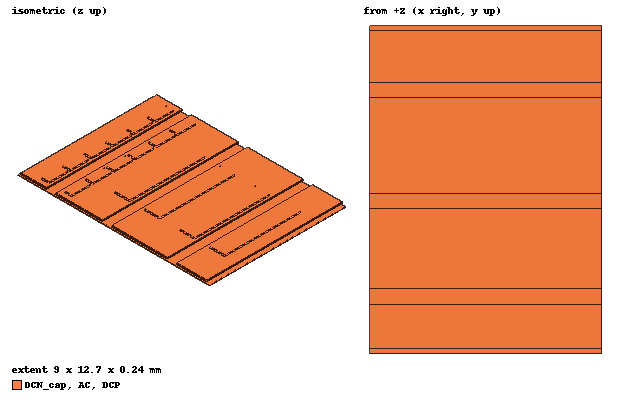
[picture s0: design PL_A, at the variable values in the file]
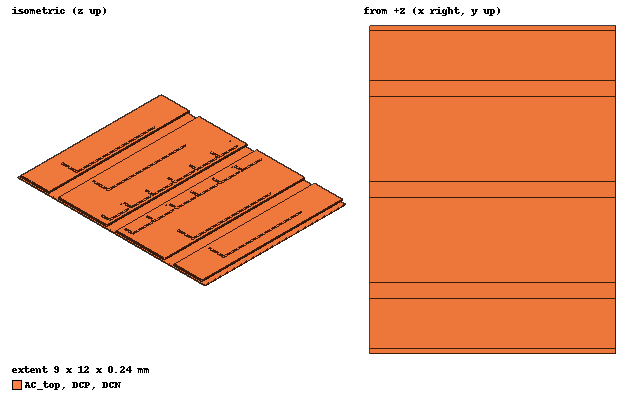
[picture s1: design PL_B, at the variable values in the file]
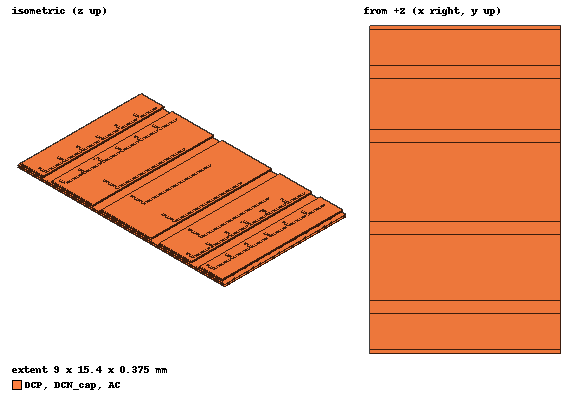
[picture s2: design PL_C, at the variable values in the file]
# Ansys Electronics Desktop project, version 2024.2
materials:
  vacuum: permittivity=1
  copper: permeability=0.999991 conductivity=58000000

design PL_A (Q3D Extractor, model units mm)
options: SParamCalcMethod=EqTransLine Calculate_Lossy_Dielectrics
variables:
  h_diel = 0.1mm  # L1-L2 dielectric
  t_L1 = 0.07mm  # L1 copper
  t_L2 = 0.035mm  # L2 copper
  t_pad = 0.035mm  # pad height; terminal faces on top
  gap = 0.6mm  # lateral gap between L1 islands (component pad gap)
  w_cell = 9mm  # island and plane width
  fet_w = 5mm  # EPC2361 pad width
  fet_pad = 1mm  # EPC2361 pad length along the loop
  cap_p = 1.4mm  # MLCC pitch
  cap_w = 1.25mm  # MLCC pad width
  via_r = 0.15mm  # via radius
  l_vrow = 0.8mm  # DC- cap landing: via strip
  l_capn = 0.9mm  # DC- cap pad strip
  l_dcp = 3.1mm  # DC+ island (caps + to QH drain)
  l_ac = 3.7mm  # AC island (QH source to QL drain)
  l_src = 2mm  # QL source island (DC-), via row 0.4 mm before its end
  z_L1 = t_L2+h_diel
  z_top = z_L1+t_L1
  y_dcp0 = l_capn+gap
  y_dcp1 = y_dcp0+l_dcp
  y_ac0 = y_dcp1+gap
  y_ac1 = y_ac0+l_ac
  y_s0 = y_ac1+gap
  y_s1 = y_s0+l_src
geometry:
  DCN_cap [copper] = box(corner=(-w_cell/2, -l_vrow, z_L1), size=((w_cell/2)-(-w_cell/2), (l_capn)-(-l_vrow), (z_top)-(z_L1)))
  via1 = cylinder(axis=Z, base_centre=((-4)*w_cell/10, -l_vrow/2, 0mm), radius=via_r, height=z_top)
  via2 = cylinder(axis=Z, base_centre=((-3)*w_cell/10, -l_vrow/2, 0mm), radius=via_r, height=z_top)
  via3 = cylinder(axis=Z, base_centre=((-2)*w_cell/10, -l_vrow/2, 0mm), radius=via_r, height=z_top)
  via4 = cylinder(axis=Z, base_centre=((-1)*w_cell/10, -l_vrow/2, 0mm), radius=via_r, height=z_top)
  via5 = cylinder(axis=Z, base_centre=((0)*w_cell/10, -l_vrow/2, 0mm), radius=via_r, height=z_top)
  via6 = cylinder(axis=Z, base_centre=((1)*w_cell/10, -l_vrow/2, 0mm), radius=via_r, height=z_top)
  via7 = cylinder(axis=Z, base_centre=((2)*w_cell/10, -l_vrow/2, 0mm), radius=via_r, height=z_top)
  via8 = cylinder(axis=Z, base_centre=((3)*w_cell/10, -l_vrow/2, 0mm), radius=via_r, height=z_top)
  via9 = cylinder(axis=Z, base_centre=((4)*w_cell/10, -l_vrow/2, 0mm), radius=via_r, height=z_top)
  CapN1 = box(corner=((-2.5)*cap_p-cap_w/2, 0.2mm, z_top), size=(((-2.5)*cap_p+cap_w/2)-((-2.5)*cap_p-cap_w/2), (0.7mm)-(0.2mm), (z_top+t_pad)-(z_top)))
  CapN2 = box(corner=((-1.5)*cap_p-cap_w/2, 0.2mm, z_top), size=(((-1.5)*cap_p+cap_w/2)-((-1.5)*cap_p-cap_w/2), (0.7mm)-(0.2mm), (z_top+t_pad)-(z_top)))
  CapN3 = box(corner=((-0.5)*cap_p-cap_w/2, 0.2mm, z_top), size=(((-0.5)*cap_p+cap_w/2)-((-0.5)*cap_p-cap_w/2), (0.7mm)-(0.2mm), (z_top+t_pad)-(z_top)))
  CapN4 = box(corner=((0.5)*cap_p-cap_w/2, 0.2mm, z_top), size=(((0.5)*cap_p+cap_w/2)-((0.5)*cap_p-cap_w/2), (0.7mm)-(0.2mm), (z_top+t_pad)-(z_top)))
  CapN5 = box(corner=((1.5)*cap_p-cap_w/2, 0.2mm, z_top), size=(((1.5)*cap_p+cap_w/2)-((1.5)*cap_p-cap_w/2), (0.7mm)-(0.2mm), (z_top+t_pad)-(z_top)))
  CapN6 = box(corner=((2.5)*cap_p-cap_w/2, 0.2mm, z_top), size=(((2.5)*cap_p+cap_w/2)-((2.5)*cap_p-cap_w/2), (0.7mm)-(0.2mm), (z_top+t_pad)-(z_top)))
  DCP [copper] = box(corner=(-w_cell/2, y_dcp0, z_L1), size=((w_cell/2)-(-w_cell/2), (y_dcp1)-(y_dcp0), (z_top)-(z_L1)))
  CapP1 = box(corner=((-2.5)*cap_p-cap_w/2, y_dcp0+0.2mm, z_top), size=(((-2.5)*cap_p+cap_w/2)-((-2.5)*cap_p-cap_w/2), (y_dcp0+0.7mm)-(y_dcp0+0.2mm), (z_top+t_pad)-(z_top)))
  CapP2 = box(corner=((-1.5)*cap_p-cap_w/2, y_dcp0+0.2mm, z_top), size=(((-1.5)*cap_p+cap_w/2)-((-1.5)*cap_p-cap_w/2), (y_dcp0+0.7mm)-(y_dcp0+0.2mm), (z_top+t_pad)-(z_top)))
  CapP3 = box(corner=((-0.5)*cap_p-cap_w/2, y_dcp0+0.2mm, z_top), size=(((-0.5)*cap_p+cap_w/2)-((-0.5)*cap_p-cap_w/2), (y_dcp0+0.7mm)-(y_dcp0+0.2mm), (z_top+t_pad)-(z_top)))
  CapP4 = box(corner=((0.5)*cap_p-cap_w/2, y_dcp0+0.2mm, z_top), size=(((0.5)*cap_p+cap_w/2)-((0.5)*cap_p-cap_w/2), (y_dcp0+0.7mm)-(y_dcp0+0.2mm), (z_top+t_pad)-(z_top)))
  CapP5 = box(corner=((1.5)*cap_p-cap_w/2, y_dcp0+0.2mm, z_top), size=(((1.5)*cap_p+cap_w/2)-((1.5)*cap_p-cap_w/2), (y_dcp0+0.7mm)-(y_dcp0+0.2mm), (z_top+t_pad)-(z_top)))
  CapP6 = box(corner=((2.5)*cap_p-cap_w/2, y_dcp0+0.2mm, z_top), size=(((2.5)*cap_p+cap_w/2)-((2.5)*cap_p-cap_w/2), (y_dcp0+0.7mm)-(y_dcp0+0.2mm), (z_top+t_pad)-(z_top)))
  QH_D = box(corner=(-fet_w/2, y_dcp1-0.2mm-fet_pad, z_top), size=((fet_w/2)-(-fet_w/2), (y_dcp1-0.2mm-fet_pad+fet_pad)-(y_dcp1-0.2mm-fet_pad), (z_top+t_pad)-(z_top)))
  AC [copper] = box(corner=(-w_cell/2, y_ac0, z_L1), size=((w_cell/2)-(-w_cell/2), (y_ac1)-(y_ac0), (z_top)-(z_L1)))
  QH_S = box(corner=(-fet_w/2, y_ac0+0.2mm, z_top), size=((fet_w/2)-(-fet_w/2), (y_ac0+0.2mm+fet_pad)-(y_ac0+0.2mm), (z_top+t_pad)-(z_top)))
  QL_D = box(corner=(-fet_w/2, y_ac1-0.2mm-fet_pad, z_top), size=((fet_w/2)-(-fet_w/2), (y_ac1-0.2mm-fet_pad+fet_pad)-(y_ac1-0.2mm-fet_pad), (z_top+t_pad)-(z_top)))
  DCN_src = box(corner=(-w_cell/2, y_s0, z_L1), size=((w_cell/2)-(-w_cell/2), (y_s1)-(y_s0), (z_top)-(z_L1)))
  QL_S = box(corner=(-fet_w/2, y_s0+0.2mm, z_top), size=((fet_w/2)-(-fet_w/2), (y_s0+0.2mm+fet_pad)-(y_s0+0.2mm), (z_top+t_pad)-(z_top)))
  via10 = cylinder(axis=Z, base_centre=((-4)*w_cell/10, y_s1-0.4mm, 0mm), radius=via_r, height=z_top)
  via11 = cylinder(axis=Z, base_centre=((-3)*w_cell/10, y_s1-0.4mm, 0mm), radius=via_r, height=z_top)
  via12 = cylinder(axis=Z, base_centre=((-2)*w_cell/10, y_s1-0.4mm, 0mm), radius=via_r, height=z_top)
  via13 = cylinder(axis=Z, base_centre=((-1)*w_cell/10, y_s1-0.4mm, 0mm), radius=via_r, height=z_top)
  via14 = cylinder(axis=Z, base_centre=((0)*w_cell/10, y_s1-0.4mm, 0mm), radius=via_r, height=z_top)
  via15 = cylinder(axis=Z, base_centre=((1)*w_cell/10, y_s1-0.4mm, 0mm), radius=via_r, height=z_top)
  via16 = cylinder(axis=Z, base_centre=((2)*w_cell/10, y_s1-0.4mm, 0mm), radius=via_r, height=z_top)
  via17 = cylinder(axis=Z, base_centre=((3)*w_cell/10, y_s1-0.4mm, 0mm), radius=via_r, height=z_top)
  via18 = cylinder(axis=Z, base_centre=((4)*w_cell/10, y_s1-0.4mm, 0mm), radius=via_r, height=z_top)
  L2_DCN = box(corner=(-w_cell/2, -l_vrow-0.2mm, 0mm), size=((w_cell/2)-(-w_cell/2), (y_s1+0.2mm)-(-l_vrow-0.2mm), (t_L2)-(0mm)))
  DCP.unite(CapP1..CapP6, QH_D)
  AC.unite(QH_S, QL_D)
  DCN_cap.unite(via1..via9, CapN1..CapN6, DCN_src, QL_S, via10..via18, L2_DCN)
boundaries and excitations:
  DCP: SignalNet Objects=DCP
  AC: SignalNet Objects=AC
  DCN: SignalNet Objects=DCN_cap
  CapP: Source Faces=DCP.face(at (-3.5, 1.95, 0.24), at (-2.1, 1.95, 0.24), at (-0.7, 1.95, 0.24), at (0.7, 1.95, 0.24), at (2.1, 1.95, 0.24), at (3.5, 1.95, 0.24)) TerminalType=ConstantVoltage Net=DCP
  QH_D: Sink Faces=DCP.face(at (0, 3.9, 0.24)) TerminalType=ConstantVoltage Net=DCP
  QH_S: Source Faces=AC.face(at (0, 5.9, 0.24)) TerminalType=ConstantVoltage Net=AC
  QL_D: Sink Faces=AC.face(at (0, 8.2, 0.24)) TerminalType=ConstantVoltage Net=AC
  QL_S: Source Faces=DCN_cap.face(at (0, 10.2, 0.24)) TerminalType=ConstantVoltage Net=DCN
  CapN: Sink Faces=DCN_cap.face(at (-3.5, 0.45, 0.24), at (-2.1, 0.45, 0.24), at (-0.7, 0.45, 0.24), at (0.7, 0.45, 0.24), at (2.1, 0.45, 0.24), at (3.5, 0.45, 0.24)) TerminalType=ConstantVoltage Net=DCN
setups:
  Setup1: Matrix AdaptiveFreq=200kHz Cap{MaxPass=10 MinPass=1 MinConvPass=1 PerError=1 PerRefine=30 AutoIncreaseAccuracy AccuracyLevel=High Solver_Type=Iterative} DC{Cond{MaxPass=10 MinPass=1 MinConvPass=1 PerError=1 PerRefine=30} Mult{MaxPass=1 MinPass=1 MinConvPass=1 PerError=1 PerRefine=30} AccuracyLevel=Normal} AC{MaxPass=15 MinPass=2 MinConvPass=2 PerError=0.5 PerRefine=30 ACRLSolverType=ACA} ErrorValue=0.1
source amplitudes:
  AC:QH_S, DCN:QL_S: AC R/L Fields 0A
  DCP:CapP: AC R/L Fields 1A
  AC, DCN: CG Fields 0V 0deg
  DCP: CG Fields 1V 0deg
  AC:QH_S, DCN:QL_S: DC R/L Fields 0A
  DCP:CapP: DC R/L Fields 1A

design PL_B (Q3D Extractor, model units mm)
options: SParamCalcMethod=EqTransLine Calculate_Lossy_Dielectrics
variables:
  h_diel = 0.1mm  # L1-L2 dielectric
  t_L1 = 0.07mm  # L1 copper
  t_L2 = 0.035mm  # L2 copper
  t_pad = 0.035mm  # pad height; terminal faces on top
  gap = 0.6mm  # lateral gap between L1 islands (component pad gap)
  w_cell = 9mm  # island and plane width
  fet_w = 5mm  # EPC2361 pad width
  fet_pad = 1mm  # EPC2361 pad length along the loop
  cap_p = 1.4mm  # MLCC pitch
  cap_w = 1.25mm  # MLCC pad width
  via_r = 0.15mm  # via radius
  l_ach = 1.8mm  # AC landing at QH source and at QL drain (via row to L2)
  l_dcp = 3.1mm  # DC+ island (QH drain to caps +)
  l_dcn = 3.1mm  # DC- island (caps - to QL source)
  z_L1 = t_L2+h_diel
  z_top = z_L1+t_L1
  y_p0 = l_ach+gap
  y_p1 = y_p0+l_dcp
  y_n0 = y_p1+gap
  y_n1 = y_n0+l_dcn
  y_q0 = y_n1+gap
  y_q1 = y_q0+l_ach
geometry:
  AC_top [copper] = box(corner=(-w_cell/2, 0mm, z_L1), size=((w_cell/2)-(-w_cell/2), (l_ach)-(0mm), (z_top)-(z_L1)))
  via1 = cylinder(axis=Z, base_centre=((-4)*w_cell/10, 0.3mm, 0mm), radius=via_r, height=z_top)
  via2 = cylinder(axis=Z, base_centre=((-3)*w_cell/10, 0.3mm, 0mm), radius=via_r, height=z_top)
  via3 = cylinder(axis=Z, base_centre=((-2)*w_cell/10, 0.3mm, 0mm), radius=via_r, height=z_top)
  via4 = cylinder(axis=Z, base_centre=((-1)*w_cell/10, 0.3mm, 0mm), radius=via_r, height=z_top)
  via5 = cylinder(axis=Z, base_centre=((0)*w_cell/10, 0.3mm, 0mm), radius=via_r, height=z_top)
  via6 = cylinder(axis=Z, base_centre=((1)*w_cell/10, 0.3mm, 0mm), radius=via_r, height=z_top)
  via7 = cylinder(axis=Z, base_centre=((2)*w_cell/10, 0.3mm, 0mm), radius=via_r, height=z_top)
  via8 = cylinder(axis=Z, base_centre=((3)*w_cell/10, 0.3mm, 0mm), radius=via_r, height=z_top)
  via9 = cylinder(axis=Z, base_centre=((4)*w_cell/10, 0.3mm, 0mm), radius=via_r, height=z_top)
  QH_S = box(corner=(-fet_w/2, l_ach-0.2mm-fet_pad, z_top), size=((fet_w/2)-(-fet_w/2), (l_ach-0.2mm-fet_pad+fet_pad)-(l_ach-0.2mm-fet_pad), (z_top+t_pad)-(z_top)))
  DCP [copper] = box(corner=(-w_cell/2, y_p0, z_L1), size=((w_cell/2)-(-w_cell/2), (y_p1)-(y_p0), (z_top)-(z_L1)))
  QH_D = box(corner=(-fet_w/2, y_p0+0.2mm, z_top), size=((fet_w/2)-(-fet_w/2), (y_p0+0.2mm+fet_pad)-(y_p0+0.2mm), (z_top+t_pad)-(z_top)))
  CapP1 = box(corner=((-2.5)*cap_p-cap_w/2, y_p1-0.7mm, z_top), size=(((-2.5)*cap_p+cap_w/2)-((-2.5)*cap_p-cap_w/2), (y_p1-0.2mm)-(y_p1-0.7mm), (z_top+t_pad)-(z_top)))
  CapP2 = box(corner=((-1.5)*cap_p-cap_w/2, y_p1-0.7mm, z_top), size=(((-1.5)*cap_p+cap_w/2)-((-1.5)*cap_p-cap_w/2), (y_p1-0.2mm)-(y_p1-0.7mm), (z_top+t_pad)-(z_top)))
  CapP3 = box(corner=((-0.5)*cap_p-cap_w/2, y_p1-0.7mm, z_top), size=(((-0.5)*cap_p+cap_w/2)-((-0.5)*cap_p-cap_w/2), (y_p1-0.2mm)-(y_p1-0.7mm), (z_top+t_pad)-(z_top)))
  CapP4 = box(corner=((0.5)*cap_p-cap_w/2, y_p1-0.7mm, z_top), size=(((0.5)*cap_p+cap_w/2)-((0.5)*cap_p-cap_w/2), (y_p1-0.2mm)-(y_p1-0.7mm), (z_top+t_pad)-(z_top)))
  CapP5 = box(corner=((1.5)*cap_p-cap_w/2, y_p1-0.7mm, z_top), size=(((1.5)*cap_p+cap_w/2)-((1.5)*cap_p-cap_w/2), (y_p1-0.2mm)-(y_p1-0.7mm), (z_top+t_pad)-(z_top)))
  CapP6 = box(corner=((2.5)*cap_p-cap_w/2, y_p1-0.7mm, z_top), size=(((2.5)*cap_p+cap_w/2)-((2.5)*cap_p-cap_w/2), (y_p1-0.2mm)-(y_p1-0.7mm), (z_top+t_pad)-(z_top)))
  DCN [copper] = box(corner=(-w_cell/2, y_n0, z_L1), size=((w_cell/2)-(-w_cell/2), (y_n1)-(y_n0), (z_top)-(z_L1)))
  CapN1 = box(corner=((-2.5)*cap_p-cap_w/2, y_n0+0.2mm, z_top), size=(((-2.5)*cap_p+cap_w/2)-((-2.5)*cap_p-cap_w/2), (y_n0+0.7mm)-(y_n0+0.2mm), (z_top+t_pad)-(z_top)))
  CapN2 = box(corner=((-1.5)*cap_p-cap_w/2, y_n0+0.2mm, z_top), size=(((-1.5)*cap_p+cap_w/2)-((-1.5)*cap_p-cap_w/2), (y_n0+0.7mm)-(y_n0+0.2mm), (z_top+t_pad)-(z_top)))
  CapN3 = box(corner=((-0.5)*cap_p-cap_w/2, y_n0+0.2mm, z_top), size=(((-0.5)*cap_p+cap_w/2)-((-0.5)*cap_p-cap_w/2), (y_n0+0.7mm)-(y_n0+0.2mm), (z_top+t_pad)-(z_top)))
  CapN4 = box(corner=((0.5)*cap_p-cap_w/2, y_n0+0.2mm, z_top), size=(((0.5)*cap_p+cap_w/2)-((0.5)*cap_p-cap_w/2), (y_n0+0.7mm)-(y_n0+0.2mm), (z_top+t_pad)-(z_top)))
  CapN5 = box(corner=((1.5)*cap_p-cap_w/2, y_n0+0.2mm, z_top), size=(((1.5)*cap_p+cap_w/2)-((1.5)*cap_p-cap_w/2), (y_n0+0.7mm)-(y_n0+0.2mm), (z_top+t_pad)-(z_top)))
  CapN6 = box(corner=((2.5)*cap_p-cap_w/2, y_n0+0.2mm, z_top), size=(((2.5)*cap_p+cap_w/2)-((2.5)*cap_p-cap_w/2), (y_n0+0.7mm)-(y_n0+0.2mm), (z_top+t_pad)-(z_top)))
  QL_S = box(corner=(-fet_w/2, y_n1-0.2mm-fet_pad, z_top), size=((fet_w/2)-(-fet_w/2), (y_n1-0.2mm-fet_pad+fet_pad)-(y_n1-0.2mm-fet_pad), (z_top+t_pad)-(z_top)))
  AC_bot = box(corner=(-w_cell/2, y_q0, z_L1), size=((w_cell/2)-(-w_cell/2), (y_q1)-(y_q0), (z_top)-(z_L1)))
  QL_D = box(corner=(-fet_w/2, y_q0+0.2mm, z_top), size=((fet_w/2)-(-fet_w/2), (y_q0+0.2mm+fet_pad)-(y_q0+0.2mm), (z_top+t_pad)-(z_top)))
  via10 = cylinder(axis=Z, base_centre=((-4)*w_cell/10, y_q1-0.3mm, 0mm), radius=via_r, height=z_top)
  via11 = cylinder(axis=Z, base_centre=((-3)*w_cell/10, y_q1-0.3mm, 0mm), radius=via_r, height=z_top)
  via12 = cylinder(axis=Z, base_centre=((-2)*w_cell/10, y_q1-0.3mm, 0mm), radius=via_r, height=z_top)
  via13 = cylinder(axis=Z, base_centre=((-1)*w_cell/10, y_q1-0.3mm, 0mm), radius=via_r, height=z_top)
  via14 = cylinder(axis=Z, base_centre=((0)*w_cell/10, y_q1-0.3mm, 0mm), radius=via_r, height=z_top)
  via15 = cylinder(axis=Z, base_centre=((1)*w_cell/10, y_q1-0.3mm, 0mm), radius=via_r, height=z_top)
  via16 = cylinder(axis=Z, base_centre=((2)*w_cell/10, y_q1-0.3mm, 0mm), radius=via_r, height=z_top)
  via17 = cylinder(axis=Z, base_centre=((3)*w_cell/10, y_q1-0.3mm, 0mm), radius=via_r, height=z_top)
  via18 = cylinder(axis=Z, base_centre=((4)*w_cell/10, y_q1-0.3mm, 0mm), radius=via_r, height=z_top)
  L2_AC = box(corner=(-w_cell/2, -0.2mm, 0mm), size=((w_cell/2)-(-w_cell/2), (y_q1+0.2mm)-(-0.2mm), (t_L2)-(0mm)))
  DCP.unite(QH_D, CapP1..CapP6)
  AC_top.unite(via1..via9, QH_S, AC_bot, QL_D, via10..via18, L2_AC)
  DCN.unite(CapN1..CapN6, QL_S)
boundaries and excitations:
  DCP: SignalNet Objects=DCP
  AC: SignalNet Objects=AC_top
  DCN: SignalNet Objects=DCN
  CapP: Source Faces=DCP.face(at (-3.5, 5.05, 0.24), at (-2.1, 5.05, 0.24), at (-0.7, 5.05, 0.24), at (0.7, 5.05, 0.24), at (2.1, 5.05, 0.24), at (3.5, 5.05, 0.24)) TerminalType=ConstantVoltage Net=DCP
  QH_D: Sink Faces=DCP.face(at (0, 3.1, 0.24)) TerminalType=ConstantVoltage Net=DCP
  QH_S: Source Faces=AC_top.face(at (0, 1.1, 0.24)) TerminalType=ConstantVoltage Net=AC
  QL_D: Sink Faces=AC_top.face(at (0, 10.5, 0.24)) TerminalType=ConstantVoltage Net=AC
  QL_S: Source Faces=DCN.face(at (0, 8.5, 0.24)) TerminalType=ConstantVoltage Net=DCN
  CapN: Sink Faces=DCN.face(at (-3.5, 6.55, 0.24), at (-2.1, 6.55, 0.24), at (-0.7, 6.55, 0.24), at (0.7, 6.55, 0.24), at (2.1, 6.55, 0.24), at (3.5, 6.55, 0.24)) TerminalType=ConstantVoltage Net=DCN
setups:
  Setup1: Matrix AdaptiveFreq=100MHz Cap{MaxPass=10 MinPass=1 MinConvPass=1 PerError=1 PerRefine=30 AutoIncreaseAccuracy AccuracyLevel=High Solver_Type=Iterative} DC{Cond{MaxPass=10 MinPass=1 MinConvPass=1 PerError=1 PerRefine=30} Mult{MaxPass=1 MinPass=1 MinConvPass=1 PerError=1 PerRefine=30} AccuracyLevel=Normal} AC{MaxPass=15 MinPass=2 MinConvPass=2 PerError=0.5 PerRefine=30 ACRLSolverType=ACA} ErrorValue=0.1
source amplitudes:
  AC:QH_S, DCN:QL_S: AC R/L Fields 0A
  DCP:CapP: AC R/L Fields 1A
  AC, DCN: CG Fields 0V 0deg
  DCP: CG Fields 1V 0deg
  AC:QH_S, DCN:QL_S: DC R/L Fields 0A
  DCP:CapP: DC R/L Fields 1A

design PL_C (Q3D Extractor, model units mm)
options: SParamCalcMethod=EqTransLine Calculate_Lossy_Dielectrics
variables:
  h_diel = 0.1mm  # L1-L2 dielectric
  t_L1 = 0.07mm  # L1 copper
  t_L2 = 0.035mm  # L2 copper
  t_pad = 0.035mm  # pad height; terminal faces on top
  gap = 0.6mm  # lateral gap between L1 islands (component pad gap)
  w_cell = 9mm  # island and plane width
  fet_w = 5mm  # EPC2361 pad width
  fet_pad = 1mm  # EPC2361 pad length along the loop
  cap_p = 1.4mm  # MLCC pitch
  cap_w = 1.25mm  # MLCC pad width
  via_r = 0.15mm  # via radius
  l_vrow = 0.8mm  # DC- cap landing: via strip
  l_capn = 0.9mm  # DC- cap pad strip
  l_dcp = 3.1mm  # DC+ island (caps + to QH drain)
  l_ac = 3.7mm  # AC island (QH source to QL drain)
  l_src = 2.4mm  # QL source island (DC-): QL_S pads, via row, caps B - pads
  l_capbp = 1.7mm  # caps B + island (DC+), via row to L3
  h_23 = 0.1mm  # L2-L3 dielectric (DC- plane to DC+ plane)
  t_L3 = 0.035mm  # L3 copper
  r_anti = 0.35mm  # L2 clearance radius around DC+ vias
  z_L1 = t_L2+h_diel
  z_top = z_L1+t_L1
  y_dcp0 = l_capn+gap
  y_dcp1 = y_dcp0+l_dcp
  y_ac0 = y_dcp1+gap
  y_ac1 = y_ac0+l_ac
  y_s0 = y_ac1+gap
  y_s1 = y_s0+l_src
  y_b0 = y_s1+gap
  y_b1 = y_b0+l_capbp
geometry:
  DCN_cap [copper] = box(corner=(-w_cell/2, -l_vrow, z_L1), size=((w_cell/2)-(-w_cell/2), (l_capn)-(-l_vrow), (z_top)-(z_L1)))
  via1 = cylinder(axis=Z, base_centre=((-4)*w_cell/10, -l_vrow/2, 0mm), radius=via_r, height=z_top)
  via2 = cylinder(axis=Z, base_centre=((-3)*w_cell/10, -l_vrow/2, 0mm), radius=via_r, height=z_top)
  via3 = cylinder(axis=Z, base_centre=((-2)*w_cell/10, -l_vrow/2, 0mm), radius=via_r, height=z_top)
  via4 = cylinder(axis=Z, base_centre=((-1)*w_cell/10, -l_vrow/2, 0mm), radius=via_r, height=z_top)
  via5 = cylinder(axis=Z, base_centre=((0)*w_cell/10, -l_vrow/2, 0mm), radius=via_r, height=z_top)
  via6 = cylinder(axis=Z, base_centre=((1)*w_cell/10, -l_vrow/2, 0mm), radius=via_r, height=z_top)
  via7 = cylinder(axis=Z, base_centre=((2)*w_cell/10, -l_vrow/2, 0mm), radius=via_r, height=z_top)
  via8 = cylinder(axis=Z, base_centre=((3)*w_cell/10, -l_vrow/2, 0mm), radius=via_r, height=z_top)
  via9 = cylinder(axis=Z, base_centre=((4)*w_cell/10, -l_vrow/2, 0mm), radius=via_r, height=z_top)
  CapAN1 = box(corner=((-2.5)*cap_p-cap_w/2, 0.2mm, z_top), size=(((-2.5)*cap_p+cap_w/2)-((-2.5)*cap_p-cap_w/2), (0.7mm)-(0.2mm), (z_top+t_pad)-(z_top)))
  CapAN2 = box(corner=((-1.5)*cap_p-cap_w/2, 0.2mm, z_top), size=(((-1.5)*cap_p+cap_w/2)-((-1.5)*cap_p-cap_w/2), (0.7mm)-(0.2mm), (z_top+t_pad)-(z_top)))
  CapAN3 = box(corner=((-0.5)*cap_p-cap_w/2, 0.2mm, z_top), size=(((-0.5)*cap_p+cap_w/2)-((-0.5)*cap_p-cap_w/2), (0.7mm)-(0.2mm), (z_top+t_pad)-(z_top)))
  CapAN4 = box(corner=((0.5)*cap_p-cap_w/2, 0.2mm, z_top), size=(((0.5)*cap_p+cap_w/2)-((0.5)*cap_p-cap_w/2), (0.7mm)-(0.2mm), (z_top+t_pad)-(z_top)))
  CapAN5 = box(corner=((1.5)*cap_p-cap_w/2, 0.2mm, z_top), size=(((1.5)*cap_p+cap_w/2)-((1.5)*cap_p-cap_w/2), (0.7mm)-(0.2mm), (z_top+t_pad)-(z_top)))
  CapAN6 = box(corner=((2.5)*cap_p-cap_w/2, 0.2mm, z_top), size=(((2.5)*cap_p+cap_w/2)-((2.5)*cap_p-cap_w/2), (0.7mm)-(0.2mm), (z_top+t_pad)-(z_top)))
  DCP [copper] = box(corner=(-w_cell/2, y_dcp0, z_L1), size=((w_cell/2)-(-w_cell/2), (y_dcp1)-(y_dcp0), (z_top)-(z_L1)))
  CapAP1 = box(corner=((-2.5)*cap_p-cap_w/2, y_dcp0+0.2mm, z_top), size=(((-2.5)*cap_p+cap_w/2)-((-2.5)*cap_p-cap_w/2), (y_dcp0+0.7mm)-(y_dcp0+0.2mm), (z_top+t_pad)-(z_top)))
  CapAP2 = box(corner=((-1.5)*cap_p-cap_w/2, y_dcp0+0.2mm, z_top), size=(((-1.5)*cap_p+cap_w/2)-((-1.5)*cap_p-cap_w/2), (y_dcp0+0.7mm)-(y_dcp0+0.2mm), (z_top+t_pad)-(z_top)))
  CapAP3 = box(corner=((-0.5)*cap_p-cap_w/2, y_dcp0+0.2mm, z_top), size=(((-0.5)*cap_p+cap_w/2)-((-0.5)*cap_p-cap_w/2), (y_dcp0+0.7mm)-(y_dcp0+0.2mm), (z_top+t_pad)-(z_top)))
  CapAP4 = box(corner=((0.5)*cap_p-cap_w/2, y_dcp0+0.2mm, z_top), size=(((0.5)*cap_p+cap_w/2)-((0.5)*cap_p-cap_w/2), (y_dcp0+0.7mm)-(y_dcp0+0.2mm), (z_top+t_pad)-(z_top)))
  CapAP5 = box(corner=((1.5)*cap_p-cap_w/2, y_dcp0+0.2mm, z_top), size=(((1.5)*cap_p+cap_w/2)-((1.5)*cap_p-cap_w/2), (y_dcp0+0.7mm)-(y_dcp0+0.2mm), (z_top+t_pad)-(z_top)))
  CapAP6 = box(corner=((2.5)*cap_p-cap_w/2, y_dcp0+0.2mm, z_top), size=(((2.5)*cap_p+cap_w/2)-((2.5)*cap_p-cap_w/2), (y_dcp0+0.7mm)-(y_dcp0+0.2mm), (z_top+t_pad)-(z_top)))
  via10 = cylinder(axis=Z, base_centre=((-4)*w_cell/10, y_dcp0+1.3mm, -h_23-t_L3), radius=via_r, height=z_top+h_23+t_L3)
  via11 = cylinder(axis=Z, base_centre=((-3)*w_cell/10, y_dcp0+1.3mm, -h_23-t_L3), radius=via_r, height=z_top+h_23+t_L3)
  via12 = cylinder(axis=Z, base_centre=((-2)*w_cell/10, y_dcp0+1.3mm, -h_23-t_L3), radius=via_r, height=z_top+h_23+t_L3)
  via13 = cylinder(axis=Z, base_centre=((-1)*w_cell/10, y_dcp0+1.3mm, -h_23-t_L3), radius=via_r, height=z_top+h_23+t_L3)
  via14 = cylinder(axis=Z, base_centre=((0)*w_cell/10, y_dcp0+1.3mm, -h_23-t_L3), radius=via_r, height=z_top+h_23+t_L3)
  via15 = cylinder(axis=Z, base_centre=((1)*w_cell/10, y_dcp0+1.3mm, -h_23-t_L3), radius=via_r, height=z_top+h_23+t_L3)
  via16 = cylinder(axis=Z, base_centre=((2)*w_cell/10, y_dcp0+1.3mm, -h_23-t_L3), radius=via_r, height=z_top+h_23+t_L3)
  via17 = cylinder(axis=Z, base_centre=((3)*w_cell/10, y_dcp0+1.3mm, -h_23-t_L3), radius=via_r, height=z_top+h_23+t_L3)
  via18 = cylinder(axis=Z, base_centre=((4)*w_cell/10, y_dcp0+1.3mm, -h_23-t_L3), radius=via_r, height=z_top+h_23+t_L3)
  QH_D = box(corner=(-fet_w/2, y_dcp1-0.2mm-fet_pad, z_top), size=((fet_w/2)-(-fet_w/2), (y_dcp1-0.2mm-fet_pad+fet_pad)-(y_dcp1-0.2mm-fet_pad), (z_top+t_pad)-(z_top)))
  AC [copper] = box(corner=(-w_cell/2, y_ac0, z_L1), size=((w_cell/2)-(-w_cell/2), (y_ac1)-(y_ac0), (z_top)-(z_L1)))
  QH_S = box(corner=(-fet_w/2, y_ac0+0.2mm, z_top), size=((fet_w/2)-(-fet_w/2), (y_ac0+0.2mm+fet_pad)-(y_ac0+0.2mm), (z_top+t_pad)-(z_top)))
  QL_D = box(corner=(-fet_w/2, y_ac1-0.2mm-fet_pad, z_top), size=((fet_w/2)-(-fet_w/2), (y_ac1-0.2mm-fet_pad+fet_pad)-(y_ac1-0.2mm-fet_pad), (z_top+t_pad)-(z_top)))
  DCN_src = box(corner=(-w_cell/2, y_s0, z_L1), size=((w_cell/2)-(-w_cell/2), (y_s1)-(y_s0), (z_top)-(z_L1)))
  QL_S = box(corner=(-fet_w/2, y_s0+0.2mm, z_top), size=((fet_w/2)-(-fet_w/2), (y_s0+0.2mm+fet_pad)-(y_s0+0.2mm), (z_top+t_pad)-(z_top)))
  via19 = cylinder(axis=Z, base_centre=((-4)*w_cell/10, y_s0+1.5mm, 0mm), radius=via_r, height=z_top)
  via20 = cylinder(axis=Z, base_centre=((-3)*w_cell/10, y_s0+1.5mm, 0mm), radius=via_r, height=z_top)
  via21 = cylinder(axis=Z, base_centre=((-2)*w_cell/10, y_s0+1.5mm, 0mm), radius=via_r, height=z_top)
  via22 = cylinder(axis=Z, base_centre=((-1)*w_cell/10, y_s0+1.5mm, 0mm), radius=via_r, height=z_top)
  via23 = cylinder(axis=Z, base_centre=((0)*w_cell/10, y_s0+1.5mm, 0mm), radius=via_r, height=z_top)
  via24 = cylinder(axis=Z, base_centre=((1)*w_cell/10, y_s0+1.5mm, 0mm), radius=via_r, height=z_top)
  via25 = cylinder(axis=Z, base_centre=((2)*w_cell/10, y_s0+1.5mm, 0mm), radius=via_r, height=z_top)
  via26 = cylinder(axis=Z, base_centre=((3)*w_cell/10, y_s0+1.5mm, 0mm), radius=via_r, height=z_top)
  via27 = cylinder(axis=Z, base_centre=((4)*w_cell/10, y_s0+1.5mm, 0mm), radius=via_r, height=z_top)
  CapBN1 = box(corner=((-2.5)*cap_p-cap_w/2, y_s1-0.7mm, z_top), size=(((-2.5)*cap_p+cap_w/2)-((-2.5)*cap_p-cap_w/2), (y_s1-0.2mm)-(y_s1-0.7mm), (z_top+t_pad)-(z_top)))
  CapBN2 = box(corner=((-1.5)*cap_p-cap_w/2, y_s1-0.7mm, z_top), size=(((-1.5)*cap_p+cap_w/2)-((-1.5)*cap_p-cap_w/2), (y_s1-0.2mm)-(y_s1-0.7mm), (z_top+t_pad)-(z_top)))
  CapBN3 = box(corner=((-0.5)*cap_p-cap_w/2, y_s1-0.7mm, z_top), size=(((-0.5)*cap_p+cap_w/2)-((-0.5)*cap_p-cap_w/2), (y_s1-0.2mm)-(y_s1-0.7mm), (z_top+t_pad)-(z_top)))
  CapBN4 = box(corner=((0.5)*cap_p-cap_w/2, y_s1-0.7mm, z_top), size=(((0.5)*cap_p+cap_w/2)-((0.5)*cap_p-cap_w/2), (y_s1-0.2mm)-(y_s1-0.7mm), (z_top+t_pad)-(z_top)))
  CapBN5 = box(corner=((1.5)*cap_p-cap_w/2, y_s1-0.7mm, z_top), size=(((1.5)*cap_p+cap_w/2)-((1.5)*cap_p-cap_w/2), (y_s1-0.2mm)-(y_s1-0.7mm), (z_top+t_pad)-(z_top)))
  CapBN6 = box(corner=((2.5)*cap_p-cap_w/2, y_s1-0.7mm, z_top), size=(((2.5)*cap_p+cap_w/2)-((2.5)*cap_p-cap_w/2), (y_s1-0.2mm)-(y_s1-0.7mm), (z_top+t_pad)-(z_top)))
  DCP_B = box(corner=(-w_cell/2, y_b0, z_L1), size=((w_cell/2)-(-w_cell/2), (y_b1)-(y_b0), (z_top)-(z_L1)))
  CapBP1 = box(corner=((-2.5)*cap_p-cap_w/2, y_b0+0.2mm, z_top), size=(((-2.5)*cap_p+cap_w/2)-((-2.5)*cap_p-cap_w/2), (y_b0+0.7mm)-(y_b0+0.2mm), (z_top+t_pad)-(z_top)))
  CapBP2 = box(corner=((-1.5)*cap_p-cap_w/2, y_b0+0.2mm, z_top), size=(((-1.5)*cap_p+cap_w/2)-((-1.5)*cap_p-cap_w/2), (y_b0+0.7mm)-(y_b0+0.2mm), (z_top+t_pad)-(z_top)))
  CapBP3 = box(corner=((-0.5)*cap_p-cap_w/2, y_b0+0.2mm, z_top), size=(((-0.5)*cap_p+cap_w/2)-((-0.5)*cap_p-cap_w/2), (y_b0+0.7mm)-(y_b0+0.2mm), (z_top+t_pad)-(z_top)))
  CapBP4 = box(corner=((0.5)*cap_p-cap_w/2, y_b0+0.2mm, z_top), size=(((0.5)*cap_p+cap_w/2)-((0.5)*cap_p-cap_w/2), (y_b0+0.7mm)-(y_b0+0.2mm), (z_top+t_pad)-(z_top)))
  CapBP5 = box(corner=((1.5)*cap_p-cap_w/2, y_b0+0.2mm, z_top), size=(((1.5)*cap_p+cap_w/2)-((1.5)*cap_p-cap_w/2), (y_b0+0.7mm)-(y_b0+0.2mm), (z_top+t_pad)-(z_top)))
  CapBP6 = box(corner=((2.5)*cap_p-cap_w/2, y_b0+0.2mm, z_top), size=(((2.5)*cap_p+cap_w/2)-((2.5)*cap_p-cap_w/2), (y_b0+0.7mm)-(y_b0+0.2mm), (z_top+t_pad)-(z_top)))
  via28 = cylinder(axis=Z, base_centre=((-4)*w_cell/10, y_b1-0.4mm, -h_23-t_L3), radius=via_r, height=z_top+h_23+t_L3)
  via29 = cylinder(axis=Z, base_centre=((-3)*w_cell/10, y_b1-0.4mm, -h_23-t_L3), radius=via_r, height=z_top+h_23+t_L3)
  via30 = cylinder(axis=Z, base_centre=((-2)*w_cell/10, y_b1-0.4mm, -h_23-t_L3), radius=via_r, height=z_top+h_23+t_L3)
  via31 = cylinder(axis=Z, base_centre=((-1)*w_cell/10, y_b1-0.4mm, -h_23-t_L3), radius=via_r, height=z_top+h_23+t_L3)
  via32 = cylinder(axis=Z, base_centre=((0)*w_cell/10, y_b1-0.4mm, -h_23-t_L3), radius=via_r, height=z_top+h_23+t_L3)
  via33 = cylinder(axis=Z, base_centre=((1)*w_cell/10, y_b1-0.4mm, -h_23-t_L3), radius=via_r, height=z_top+h_23+t_L3)
  via34 = cylinder(axis=Z, base_centre=((2)*w_cell/10, y_b1-0.4mm, -h_23-t_L3), radius=via_r, height=z_top+h_23+t_L3)
  via35 = cylinder(axis=Z, base_centre=((3)*w_cell/10, y_b1-0.4mm, -h_23-t_L3), radius=via_r, height=z_top+h_23+t_L3)
  via36 = cylinder(axis=Z, base_centre=((4)*w_cell/10, y_b1-0.4mm, -h_23-t_L3), radius=via_r, height=z_top+h_23+t_L3)
  L2_DCN = box(corner=(-w_cell/2, -l_vrow-0.2mm, 0mm), size=((w_cell/2)-(-w_cell/2), (y_b1+0.2mm)-(-l_vrow-0.2mm), (t_L2)-(0mm)))
  anti37 = cylinder(axis=Z, base_centre=((-4)*w_cell/10, y_dcp0+1.3mm, -1mm), radius=r_anti, height=z_top+2mm)
  anti38 = cylinder(axis=Z, base_centre=((-3)*w_cell/10, y_dcp0+1.3mm, -1mm), radius=r_anti, height=z_top+2mm)
  anti39 = cylinder(axis=Z, base_centre=((-2)*w_cell/10, y_dcp0+1.3mm, -1mm), radius=r_anti, height=z_top+2mm)
  anti40 = cylinder(axis=Z, base_centre=((-1)*w_cell/10, y_dcp0+1.3mm, -1mm), radius=r_anti, height=z_top+2mm)
  anti41 = cylinder(axis=Z, base_centre=((0)*w_cell/10, y_dcp0+1.3mm, -1mm), radius=r_anti, height=z_top+2mm)
  anti42 = cylinder(axis=Z, base_centre=((1)*w_cell/10, y_dcp0+1.3mm, -1mm), radius=r_anti, height=z_top+2mm)
  anti43 = cylinder(axis=Z, base_centre=((2)*w_cell/10, y_dcp0+1.3mm, -1mm), radius=r_anti, height=z_top+2mm)
  anti44 = cylinder(axis=Z, base_centre=((3)*w_cell/10, y_dcp0+1.3mm, -1mm), radius=r_anti, height=z_top+2mm)
  anti45 = cylinder(axis=Z, base_centre=((4)*w_cell/10, y_dcp0+1.3mm, -1mm), radius=r_anti, height=z_top+2mm)
  L2_DCN.subtract(anti37..anti45)
  anti46 = cylinder(axis=Z, base_centre=((-4)*w_cell/10, y_b1-0.4mm, -1mm), radius=r_anti, height=z_top+2mm)
  anti47 = cylinder(axis=Z, base_centre=((-3)*w_cell/10, y_b1-0.4mm, -1mm), radius=r_anti, height=z_top+2mm)
  anti48 = cylinder(axis=Z, base_centre=((-2)*w_cell/10, y_b1-0.4mm, -1mm), radius=r_anti, height=z_top+2mm)
  anti49 = cylinder(axis=Z, base_centre=((-1)*w_cell/10, y_b1-0.4mm, -1mm), radius=r_anti, height=z_top+2mm)
  anti50 = cylinder(axis=Z, base_centre=((0)*w_cell/10, y_b1-0.4mm, -1mm), radius=r_anti, height=z_top+2mm)
  anti51 = cylinder(axis=Z, base_centre=((1)*w_cell/10, y_b1-0.4mm, -1mm), radius=r_anti, height=z_top+2mm)
  anti52 = cylinder(axis=Z, base_centre=((2)*w_cell/10, y_b1-0.4mm, -1mm), radius=r_anti, height=z_top+2mm)
  anti53 = cylinder(axis=Z, base_centre=((3)*w_cell/10, y_b1-0.4mm, -1mm), radius=r_anti, height=z_top+2mm)
  anti54 = cylinder(axis=Z, base_centre=((4)*w_cell/10, y_b1-0.4mm, -1mm), radius=r_anti, height=z_top+2mm)
  L2_DCN.subtract(anti46..anti54)
  L3_DCP = box(corner=(-w_cell/2, -l_vrow-0.2mm, -h_23-t_L3), size=((w_cell/2)-(-w_cell/2), (y_b1+0.2mm)-(-l_vrow-0.2mm), (-h_23)-(-h_23-t_L3)))
  DCP.unite(CapAP1..CapAP6, via10..via18, QH_D, DCP_B, CapBP1..CapBP6, via28..via36, L3_DCP)
  AC.unite(QH_S, QL_D)
  DCN_cap.unite(via1..via9, CapAN1..CapAN6, DCN_src, QL_S, via19..via27, CapBN1..CapBN6, L2_DCN)
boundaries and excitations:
  DCP: SignalNet Objects=DCP
  AC: SignalNet Objects=AC
  DCN: SignalNet Objects=DCN_cap
  CapAP: Source Faces=DCP.face(at (-3.5, 1.95, 0.24), at (-2.1, 1.95, 0.24), at (-0.7, 1.95, 0.24), at (0.7, 1.95, 0.24), at (2.1, 1.95, 0.24), at (3.5, 1.95, 0.24)) TerminalType=ConstantVoltage Net=DCP
  CapBP: Source Faces=DCP.face(at (-3.5, 12.95, 0.24), at (-2.1, 12.95, 0.24), at (-0.7, 12.95, 0.24), at (0.7, 12.95, 0.24), at (2.1, 12.95, 0.24), at (3.5, 12.95, 0.24)) TerminalType=ConstantVoltage Net=DCP
  QH_D: Sink Faces=DCP.face(at (0, 3.9, 0.24)) TerminalType=ConstantVoltage Net=DCP
  QH_S: Source Faces=AC.face(at (0, 5.9, 0.24)) TerminalType=ConstantVoltage Net=AC
  QL_D: Sink Faces=AC.face(at (0, 8.2, 0.24)) TerminalType=ConstantVoltage Net=AC
  CapAN: Source Faces=DCN_cap.face(at (-3.5, 0.45, 0.24), at (-2.1, 0.45, 0.24), at (-0.7, 0.45, 0.24), at (0.7, 0.45, 0.24), at (2.1, 0.45, 0.24), at (3.5, 0.45, 0.24)) TerminalType=ConstantVoltage Net=DCN
  CapBN: Source Faces=DCN_cap.face(at (-3.5, 11.45, 0.24), at (-2.1, 11.45, 0.24), at (-0.7, 11.45, 0.24), at (0.7, 11.45, 0.24), at (2.1, 11.45, 0.24), at (3.5, 11.45, 0.24)) TerminalType=ConstantVoltage Net=DCN
  QL_S: Sink Faces=DCN_cap.face(at (0, 10.2, 0.24)) TerminalType=ConstantVoltage Net=DCN
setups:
  Setup1: Matrix AdaptiveFreq=100MHz Cap{MaxPass=10 MinPass=1 MinConvPass=1 PerError=1 PerRefine=30 AutoIncreaseAccuracy AccuracyLevel=High Solver_Type=Iterative} DC{Cond{MaxPass=10 MinPass=1 MinConvPass=1 PerError=1 PerRefine=30} Mult{MaxPass=1 MinPass=1 MinConvPass=1 PerError=1 PerRefine=30} AccuracyLevel=Normal} AC{MaxPass=15 MinPass=2 MinConvPass=2 PerError=0.5 PerRefine=30 ACRLSolverType=ACA} ErrorValue=0.1
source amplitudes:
  AC:QH_S, DCN:CapAN, DCN:CapBN, DCP:CapBP: AC R/L Fields 0A
  DCP:CapAP: AC R/L Fields 1A
  AC, DCN: CG Fields 0V 0deg
  DCP: CG Fields 1V 0deg
  AC:QH_S, DCN:CapAN, DCN:CapBN, DCP:CapBP: DC R/L Fields 0A
  DCP:CapAP: DC R/L Fields 1A
